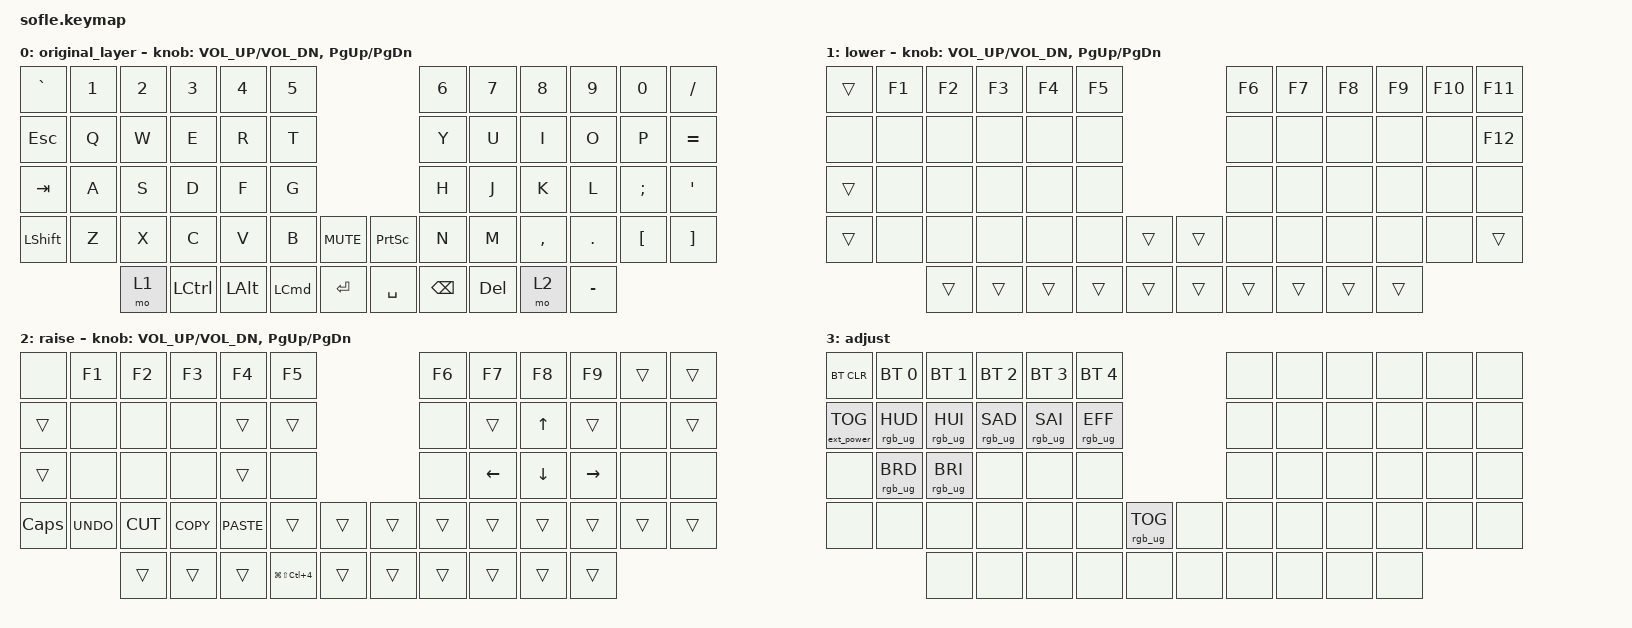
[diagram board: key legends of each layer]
/*
 * Copyright (c) 2020 The ZMK Contributors
 *
 * SPDX-License-Identifier: MIT
 */

#include <behaviors.dtsi>
#include <dt-bindings/zmk/bt.h>
#include <dt-bindings/zmk/ext_power.h>
#include <dt-bindings/zmk/keys.h>
#include <dt-bindings/zmk/rgb.h>

#define BASE 0
#define LOWER 1
#define RAISE 2
#define ADJUST 3

/ {
    // Activate ADJUST layer by pressing raise and lower

    conditional_layers {
        compatible = "zmk,conditional-layers";

        adjust_layer {
            if-layers = <LOWER RAISE>;
            then-layer = <ADJUST>;
        };
    };

    keymap {
        compatible = "zmk,keymap";

        default_layer {
            display-name = "original_layer";

            // ------------------------------------------------------------------------------------------------------------
            // |   `   |  1  |  2  |  3   |  4   |  5   |                   |  6   |  7    |  8    |  9   |   0   |       |
            // |  ESC  |  Q  |  W  |  E   |  R   |  T   |                   |  Y   |  U    |  I    |  O   |   P   | BKSPC |
            // |  TAB  |  A  |  S  |  D   |  F   |  G   |                   |  H   |  J    |  K    |  L   |   ;   |   '   |
            // | SHIFT |  Z  |  X  |  C   |  V   |  B   |  MUTE  |  |       |  N   |  M    |  ,    |  .   |   /   | SHIFT |
            //               | GUI | ALT  | CTRL | LOWER|  ENTER |  | SPACE | RAISE| CTRL  | ALT   | GUI  |

            bindings = <
&kp GRAVE  &kp N1  &kp N2  &kp N3     &kp N4        &kp N5                                   &kp N6         &kp N7      &kp N8     &kp N9     &kp N0    &kp FSLH
&kp ESC    &kp Q   &kp W   &kp E      &kp R         &kp T                                    &kp Y          &kp U       &kp I      &kp O      &kp P     &kp EQUAL
&kp TAB    &kp A   &kp S   &kp D      &kp F         &kp G                                    &kp H          &kp J       &kp K      &kp L      &kp SEMI  &kp SQT
&kp LSHFT  &kp Z   &kp X   &kp C      &kp V         &kp B     &kp C_MUTE    &kp PRINTSCREEN  &kp N          &kp M       &kp COMMA  &kp DOT    &kp LBKT  &kp RBKT
                   &mo 1   &kp LCTRL  &kp LEFT_ALT  &kp LCMD  &kp RET       &kp SPACE        &kp BACKSPACE  &kp DELETE  &mo 2      &kp MINUS
            >;

            sensor-bindings = <&inc_dec_kp C_VOL_UP C_VOL_DN &inc_dec_kp PG_UP PG_DN>;
        };

        lower_layer {
            display-name = "lower";

            // TODO: Some binds are waiting for shifted keycode support.
            // ------------------------------------------------------------------------------------------------------------
            // |       |  F1 |  F2 |  F3  |  F4  |  F5  |                   |  F6  |  F7   |  F8   |  F9  |  F10  |  F11  |
            // |   `   |  1  |  2  |  3   |  4   |  5   |                   |  6   |  7    |  8    |  9   |   0   |  F12  |
            // |       |  !  |  @  |  #   |  $   |  %   |                   |  ^   |  &    |  *    |  (   |   )   |   |   |
            // |       |  =  |  -  |  +   |  {   |  }   |        |  |       |  [   |  ]    |  ;    |  :   |   \   |       |
            //               |     |      |      |      |        |  |       |      |       |       |      |

            bindings = <
&trans  &kp F1  &kp F2  &kp F3  &kp F4  &kp F5                    &kp F6  &kp F7  &kp F8  &kp F9  &kp F10  &kp F11
&none   &none   &none   &none   &none   &none                     &none   &none   &none   &none   &none    &kp F12
&trans  &none   &none   &none   &none   &none                     &none   &none   &none   &none   &none    &none
&trans  &none   &none   &none   &none   &none   &trans    &trans  &none   &none   &none   &none   &none    &trans
                &trans  &trans  &trans  &trans  &trans    &trans  &trans  &trans  &trans  &trans
            >;

            sensor-bindings = <&inc_dec_kp C_VOL_UP C_VOL_DN &inc_dec_kp PG_UP PG_DN>;
        };

        raise_layer {
            display-name = "raise";

            // ------------------------------------------------------------------------------------------------------------
            // | BTCLR | BT1  | BT2  |  BT3  |  BT4  |  BT5 |                |      |      |       |      |       |       |
            // |       | INS  | PSCR | GUI   |       |      |                | PGUP |      |   ^   |      |       |       |
            // |       | ALT  | CTRL | SHIFT |       | CAPS |                | PGDN |   <- |   v   |  ->  |  DEL  | BKSPC |
            // |       | UNDO | CUT  | COPY  | PASTE |      |      |  |      |      |      |       |      |       |       |
            //                |      |       |       |      |      |  |      |      |      |       |      |

            bindings = <
&none         &kp F1      &kp F2     &kp F3      &kp F4       &kp F5                                      &kp F6  &kp F7    &kp F8    &kp F9     &trans  &trans
&trans        &none       &none      &none       &trans       &trans                                      &none   &trans    &kp UP    &trans     &none   &trans
&trans        &none       &none      &none       &trans       &none                                       &none   &kp LEFT  &kp DOWN  &kp RIGHT  &none   &none
&kp CAPSLOCK  &kp K_UNDO  &kp K_CUT  &kp K_COPY  &kp K_PASTE  &trans                    &trans    &trans  &trans  &trans    &trans    &trans     &trans  &trans
                          &trans     &trans      &trans       &kp LG(LS(LC(NUMBER_4)))  &trans    &trans  &trans  &trans    &trans    &trans
            >;

            sensor-bindings = <&inc_dec_kp C_VOL_UP C_VOL_DN &inc_dec_kp PG_UP PG_DN>;
        };

        adjust_layer {
            // ----------------------------------------------------------------------------------------------------------------------------
            // | BTCLR  |  BT1    |  BT2    |   BT3   |   BT4   |   BT5   |                  |      |      |       |      |       |       |
            // | EXTPWR | RGB_HUD | RGB_HUI | RGB_SAD | RGB_SAI | RGB_EFF |                  |      |      |       |      |       |       |
            // |        | RGB_BRD | RGB_BRI |         |         |         |                  |      |      |       |      |       |       |
            // |        |         |         |         |         |         | RGB_TOG | |      |      |      |       |      |       |       |
            //                    |         |         |         |         |         | |      |      |      |       |      |

            display-name = "adjust";
            bindings = <
&bt BT_CLR         &bt BT_SEL 0     &bt BT_SEL 1     &bt BT_SEL 2     &bt BT_SEL 3     &bt BT_SEL 4                               &none  &none  &none  &none  &none  &none
&ext_power EP_TOG  &rgb_ug RGB_HUD  &rgb_ug RGB_HUI  &rgb_ug RGB_SAD  &rgb_ug RGB_SAI  &rgb_ug RGB_EFF                            &none  &none  &none  &none  &none  &none
&none              &rgb_ug RGB_BRD  &rgb_ug RGB_BRI  &none            &none            &none                                      &none  &none  &none  &none  &none  &none
&none              &none            &none            &none            &none            &none            &rgb_ug RGB_TOG    &none  &none  &none  &none  &none  &none  &none
                                    &none            &none            &none            &none            &none              &none  &none  &none  &none  &none
            >;
        };
    };
};
